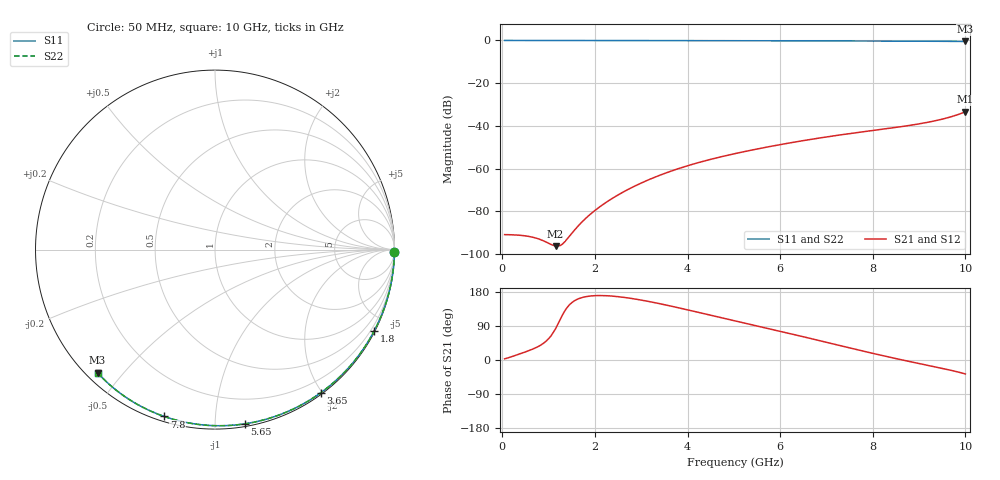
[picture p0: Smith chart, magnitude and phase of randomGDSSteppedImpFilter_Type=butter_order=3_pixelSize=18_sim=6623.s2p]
! freq	dB(S11)	phase(S11)	dB(S12)	phase(S12)
!  dB(S21)	phase(S21)	dB(S22)	phase(S22)
!S-par simulation data
#  GHz  S  DB  R 50
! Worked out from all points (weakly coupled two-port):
!   200 points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, 50 MHz to 10 GHz, reference 50 ohm
!   highest |S21| = -33.40 dB at 10 GHz (marker M1); lowest = -96.4 dB at 1.15 GHz (marker M2)
!   lowest |S11| = -0.5 dB at 10 GHz (marker M3), VSWR 37.17, Z = 1.59 - j21.4 ohm
!   |S11| at or under -10 dB: nowhere
!   |S22| runs from -0.5 to 0.0 dB; largest |S21 - S12| = 0
!   S11 on the Smith chart (normalised r, x): 50 MHz: open; 1.8 GHz: 0.04, -4.16; 3.65 GHz: 0.02, -1.98; 5.65 GHz: 0.02, -1.18; 7.8 GHz: 0.02, -0.74; 10 GHz: 0.03, -0.43
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0.05  -0.00 -0.8  -90.97 3.1  -90.97 3.1  -0.00 -0.8
0.6  -0.01 -9.1  -91.92 26.0  -91.92 26.0  -0.01 -9.1
1.15  -0.02 -17.4  -96.38 82.3  -96.38 82.3  -0.02 -17.4
1.75  -0.03 -26.3  -84.41 165.7  -84.41 165.7  -0.03 -26.3
1.8  -0.03 -27.1  -83.37 167.0  -83.37 167.0  -0.03 -27.1
1.95  -0.04 -29.3  -80.53 169.4  -80.53 169.4  -0.04 -29.3
2  -0.04 -30.0  -79.66 169.8  -79.66 169.8  -0.04 -30.0
2.35  -0.04 -35.1  -74.33 168.8  -74.33 168.8  -0.04 -35.1
2.65  -0.05 -39.5  -70.55 164.9  -70.55 164.9  -0.05 -39.5
3  -0.06 -44.5  -66.80 158.1  -66.80 158.1  -0.06 -44.5
3.4  -0.07 -50.1  -63.16 148.6  -63.16 148.6  -0.07 -50.1
3.65  -0.07 -53.6  -61.18 142.0  -61.18 142.0  -0.07 -53.6
4.3  -0.09 -62.5  -56.84 123.8  -56.84 123.8  -0.09 -62.5
5.05  -0.11 -72.6  -52.89 102.6  -52.89 102.6  -0.11 -72.6
5.65  -0.13 -80.4  -50.22 85.6  -50.22 85.6  -0.13 -80.4
6.7  -0.18 -93.6  -46.22 55.5  -46.22 55.5  -0.18 -93.6
7.8  -0.25 -106.9  -42.77 23.2  -42.77 23.2  -0.25 -106.9
8.35  -0.29 -113.4  -41.19 7.8  -41.19 7.8  -0.29 -113.4
8.95  -0.34 -120.6  -39.26 -8.0  -39.26 -8.0  -0.34 -120.6
9.35  -0.38 -125.4  -37.62 -18.2  -37.62 -18.2  -0.38 -125.4
9.7  -0.42 -129.8  -35.70 -27.5  -35.70 -27.5  -0.42 -129.8
10  -0.47 -133.6  -33.40 -36.9  -33.40 -36.9  -0.47 -133.7
